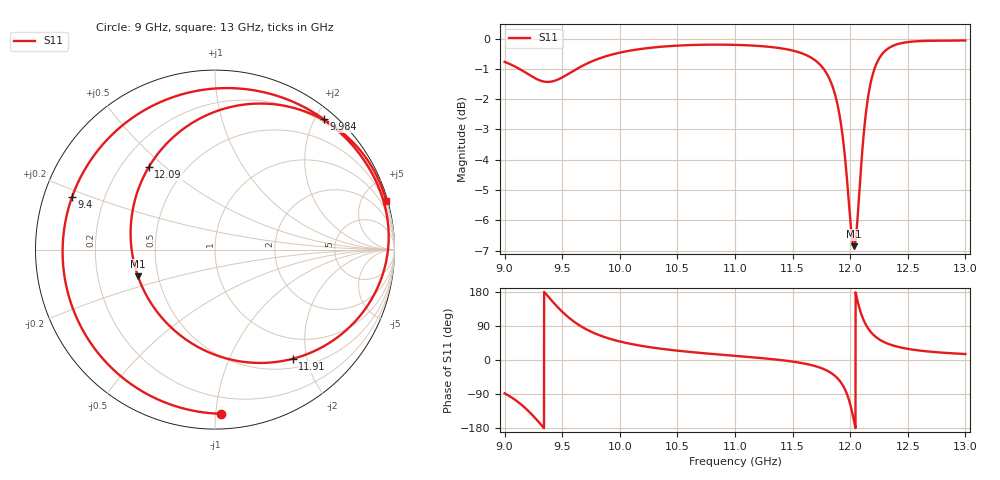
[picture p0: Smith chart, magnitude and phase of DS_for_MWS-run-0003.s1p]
! TOUCHSTONE file generated by CST DESIGN STUDIO
! Date and time: Wed Feb  5 13:35:15 2025
! Project name: C:\Work\MatlabApps\UnitCellOptimizationMatlab\CST\unitcell.cst
! Tree item: Tasks\Sweep1\SPara1\S-Parameters
! Header version: 2024
! Port assignment regex: !\s*Touchstone port\s*([0-9]+)\s*=\s*(CST MWS port|CST DES external port|CST DES block port)\s*(.+)\s* \(\"(.*)\"\)(\s*mode\s*([0-9]+))?.*
! Touchstone port assignment:
! Touchstone port 1 = CST DES external port 1 ("")
# GHz S MA R 50
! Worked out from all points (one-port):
!   4001 points, 9 GHz to 13 GHz, reference 50 ohm
!   lowest |S11| = -6.9 dB at 12.03 GHz (marker M1), VSWR 2.67, Z = 19.2 - j7.23 ohm
!   |S11| at or under -10 dB: nowhere
!   S11 on the Smith chart (normalised r, x): 9 GHz: 0.09, -1.03; 9.4 GHz: 0.08, +0.18; 9.984 GHz: 0.15, +2.13; 11.91 GHz: 0.64, -1.76; 12.09 GHz: 0.31, +0.44; 13 GHz: 0.20, +7.21
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9  0.9152 -88.0
9.104  0.8961 -107.9
9.192  0.8762 -130.4
9.303  0.8532 -166.1
9.4  0.8487 159.7
9.5  0.8625 127.5
9.579  0.88 106.6
9.671  0.9004 87.5
9.816  0.9262 66.2
9.984  0.9463 50.1
10  0.9478 48.9
10.5  0.9733 24.6
11  0.9762 11.0
11.5  0.9553 -4.1
11.768  0.8917 -23.7
11.847  0.8331 -36.9
11.908  0.7466 -54.6
11.96  0.6219 -81.1
12  0.5039 -116.8
12.033  0.4543 -160.8
12.06  0.4944 160.6
12.088  0.5898 128.7
12.119  0.701 103.5
12.152  0.7933 84.9
12.253  0.9283 54.2
12.354  0.9691 40.1
12.5  0.9866 29.4
13  0.9926 15.8
